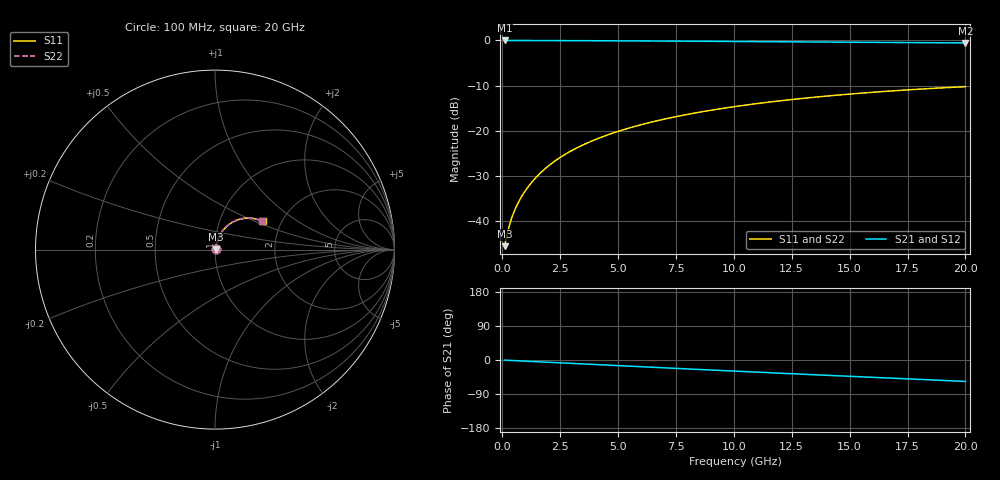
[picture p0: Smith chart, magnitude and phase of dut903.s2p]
! Touchstone file exported from HFSS 2026.1.0
!  File:  C:/ffzhzh/LocalFiles/Ansys_Project_Files/temp_train_TMRDL_903_1783157864_18472.aedt
!  Generated:  05:39:07 PM Jul  4, 2026
!  Design:  TMRDL
!  Project:  temp_train_TMRDL_903_1783157864_18472
! Variables:
!  h_bsmrdl = 2um
!  h_ox = 20um
!  h_rdl = 5um
!  h_sub = 80um
!  h_tmrdl = 3.04um
!  h_tsv = 80um
!  h_via = 3um
!  l_bsmrdl = 300um
!  l_sub = 1346.35um
!  l_tmrdl = 946.35um
!  m_sub = 200um
!  pitch = 38.13um
!  r_tsv = 6um
!  s_tmrdl = 10um
!  w_bsmrdl = 18um
!  w_sub = 500um
!  w_tmrdl = 24.91um
!  x_tsv_center1 = 958.805um
!  x_tsv_center2 = 1276.805um
!  x_tsv_center3 = 2248.065um
!  x_tsv_center4 = 2566.065um
!  x_tsv_center5 = 3537.325um
!  x_tsv_center6 = 3855.325um
# GHz S MA R 50.000000
! Terminal data exported
! Port[1] = TM_RDL1_1_T1
! Port[2] = TM_RDL1_1_T2
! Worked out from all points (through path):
!   200 points, 100 MHz to 20 GHz, reference 50 ohm
!   highest |S21| = -0.04 dB at 100 MHz (marker M1); lowest = -0.6 dB at 20 GHz (marker M2)
!   group delay of S21, straight-line fit = 7.83 ps
!   lowest |S11| = -45.5 dB at 100 MHz (marker M3), VSWR 1.01, Z = 50.5 + j0.255 ohm
!   |S11| at or under -10 dB: start of sweep to end of sweep
!   |S22| runs from -45.5 to -10.2 dB; largest |S21 - S12| = 8.3e-15
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0.1  0.005338 28.2  0.9953 -0.3  0.9953 -0.3  0.005338 28.2
! Gamma 0 0 0 0
! Port Impedance 50 0 50 0
0.2  0.007034 43.9  0.995 -0.7  0.995 -0.7  0.007034 43.9
0.3  0.00893 52.0  0.9946 -1.0  0.9946 -1.0  0.00893 52.0
0.4  0.01081 57.0  0.9943 -1.3  0.9943 -1.3  0.01081 57.0
0.5  0.01266 60.4  0.994 -1.6  0.994 -1.6  0.01266 60.4
0.6  0.0145 63.1  0.9938 -1.9  0.9938 -1.9  0.01449 63.1
0.8  0.01818 66.9  0.9934 -2.4  0.9934 -2.4  0.01818 66.9
1  0.02192 69.5  0.9932 -3.0  0.9932 -3.0  0.02192 69.5
1.2  0.02571 71.2  0.993 -3.6  0.993 -3.6  0.02571 71.2
1.7  0.03534 73.5  0.9924 -5.1  0.9924 -5.1  0.03534 73.5
2.2  0.04506 74.2  0.9918 -6.6  0.9918 -6.6  0.04506 74.2
2.8  0.05674 74.0  0.9909 -8.4  0.9909 -8.4  0.05674 74.0
3.5  0.07028 73.0  0.9896 -10.5  0.9896 -10.5  0.07028 73.1
4.2  0.08365 71.7  0.9881 -12.5  0.9881 -12.5  0.08365 71.7
5  0.09869 69.9  0.9861 -14.9  0.9861 -14.9  0.09869 69.9
5.9  0.1152 67.7  0.9837 -17.5  0.9837 -17.5  0.1152 67.7
6.8  0.1313 65.3  0.9809 -20.1  0.9809 -20.1  0.1313 65.4
8.3  0.1571 61.3  0.976 -24.4  0.976 -24.4  0.1571 61.4
10.1  0.1863 56.5  0.9697 -29.5  0.9697 -29.5  0.1863 56.6
13.4  0.2342 47.7  0.9574 -38.7  0.9574 -38.7  0.2342 47.8
16.7  0.2747 39.1  0.9455 -47.7  0.9455 -47.7  0.2748 39.2
20  0.3076 30.6  0.9346 -56.4  0.9346 -56.4  0.3076 30.8
